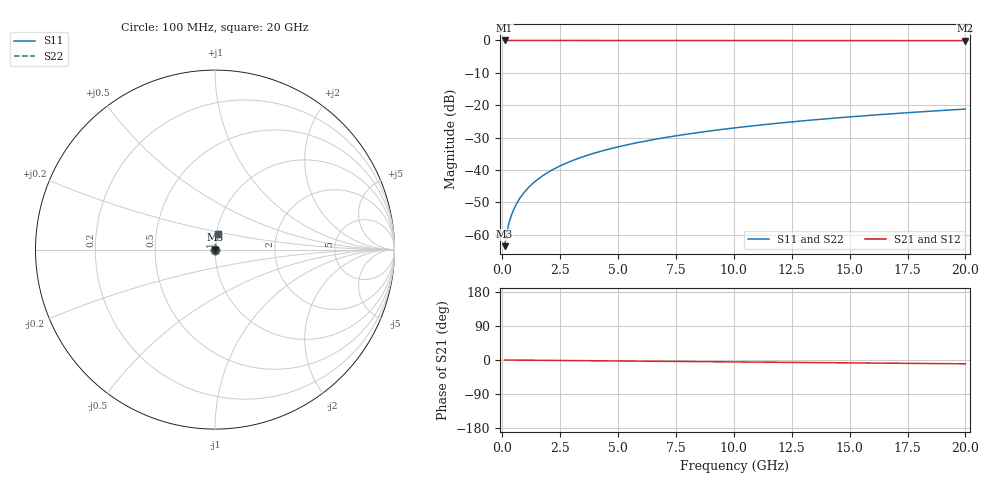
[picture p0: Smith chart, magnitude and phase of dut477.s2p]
! Touchstone file exported from HFSS 2026.1.0
!  File:  C:/ffzhzh/LocalFiles/Ansys_Project_Files/temp_train_BSMRDL_477_1783013784_51716.aedt
!  Generated:  01:37:41 AM Jul  3, 2026
!  Design:  BSMRDL
!  Project:  temp_train_BSMRDL_477_1783013784_51716
! Variables:
!  h_bsmrdl = 5.6um
!  h_ox = 20um
!  h_rdl = 5um
!  h_sub = 80um
!  h_tmrdl = 5um
!  h_tsv = 80um
!  h_via = 3um
!  l_bsmrdl = 119.21um
!  l_sub = 519.21um
!  l_tmrdl = 200um
!  m_sub = 200um
!  pitch = 52.48um
!  r_tsv = 6um
!  s_tmrdl = 10um
!  w_bsmrdl = 28.86um
!  w_sub = 500um
!  w_tmrdl = 12um
!  x_tsv_center1 = 206um
!  x_tsv_center2 = 354.07um
!  x_tsv_center3 = 566.07um
!  x_tsv_center4 = 714.14um
!  x_tsv_center5 = 926.14um
!  x_tsv_center6 = 1074.21um
# GHz S MA R 50.000000
! Terminal data exported
! Port[1] = BSM_RDL1_1_T1
! Port[2] = BSM_RDL1_1_T2
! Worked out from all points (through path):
!   200 points, 100 MHz to 20 GHz, reference 50 ohm
!   highest |S21| = 0.00 dB at 100 MHz (marker M1); lowest = -0.1 dB at 20 GHz (marker M2)
!   group delay of S21, straight-line fit = 1.39 ps
!   lowest |S11| = -63.5 dB at 100 MHz (marker M3), VSWR 1.00, Z = 50 + j0.0516 ohm
!   |S11| at or under -10 dB: start of sweep to end of sweep
!   |S22| runs from -63.5 to -21.2 dB; largest |S21 - S12| = 2.5e-15
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0.1  0.0006659 50.7  0.9996 -0.1  0.9996 -0.1  0.0006659 50.7
! Gamma 0 0 0 0
! Port Impedance 50 0 50 0
0.2  0.001111 65.7  0.9995 -0.1  0.9995 -0.1  0.001111 65.7
0.3  0.001572 71.6  0.9995 -0.2  0.9995 -0.2  0.001572 71.6
0.4  0.002028 74.8  0.9995 -0.2  0.9995 -0.2  0.002028 74.8
0.5  0.002481 77.0  0.9994 -0.3  0.9994 -0.3  0.002481 77.0
0.7  0.003385 79.7  0.9994 -0.4  0.9994 -0.4  0.003385 79.7
0.8  0.003838 80.6  0.9994 -0.4  0.9994 -0.4  0.003838 80.6
1  0.004748 81.9  0.9993 -0.5  0.9993 -0.5  0.004748 81.9
1.2  0.005659 82.8  0.9993 -0.6  0.9993 -0.6  0.005659 82.8
1.4  0.006572 83.4  0.9993 -0.7  0.9993 -0.7  0.006572 83.4
1.7  0.007941 83.9  0.9992 -0.9  0.9992 -0.9  0.007941 83.9
2  0.009309 84.3  0.9992 -1.0  0.9992 -1.0  0.009309 84.3
2.7  0.01248 84.6  0.999 -1.4  0.999 -1.4  0.01248 84.6
3.5  0.01608 84.6  0.9989 -1.8  0.9989 -1.8  0.01608 84.6
4.2  0.0192 84.5  0.9987 -2.2  0.9987 -2.2  0.0192 84.5
5  0.02274 84.3  0.9985 -2.6  0.9985 -2.6  0.02274 84.3
6.8  0.03063 83.7  0.998 -3.5  0.998 -3.5  0.03063 83.7
8.3  0.03715 83.2  0.9976 -4.2  0.9976 -4.2  0.03715 83.2
10.1  0.04495 82.5  0.9971 -5.1  0.9971 -5.1  0.04495 82.5
13.4  0.05916 81.2  0.9961 -6.8  0.9961 -6.8  0.05916 81.2
16.7  0.07325 79.7  0.9949 -8.4  0.9949 -8.4  0.07325 79.7
20  0.08719 78.2  0.9935 -10.0  0.9935 -10.0  0.08719 78.2
